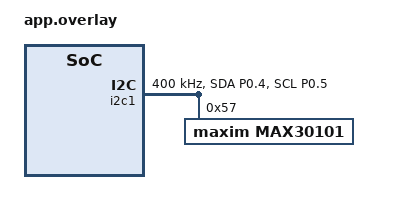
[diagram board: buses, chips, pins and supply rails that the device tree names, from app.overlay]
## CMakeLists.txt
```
cmake_minimum_required(VERSION 3.20.0)
find_package(Zephyr REQUIRED HINTS $ENV{ZEPHYR_BASE})
project(ppg_test)
target_sources(app PRIVATE src/main.c)
```

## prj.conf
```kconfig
# MAX30105 GREEN-LED PPG probe test.
CONFIG_I2C=y
CONFIG_SENSOR=y
CONFIG_MAX30101=y

# DIAGNOSTIC: light ALL THREE LEDs -- slot1 red(LED1), slot2 IR(LED2),
# slot3 green(LED3) -- to see which actually emit on this part.
CONFIG_MAX30101_MULTI_LED_MODE=y
CONFIG_MAX30101_SLOT1=1
CONFIG_MAX30101_SLOT2=2
CONFIG_MAX30101_SLOT3=3
CONFIG_MAX30101_SLOT4=0

# Red/IR at ~10 mA (already known good); GREEN at MAX current (0xff ~= 50 mA)
# so if a green LED exists at all, it cannot fail to show. [USER]/[UNIT]
CONFIG_MAX30101_LED1_PA=0x33
CONFIG_MAX30101_LED2_PA=0x33
CONFIG_MAX30101_LED3_PA=0xff

# 100 Hz sample rate -- plenty for HR, easy to watch the pulse. [UNIT]
CONFIG_MAX30101_SR=1

# USB-CDC console: log + the standing 'b'/'r' commands
CONFIG_LOG=y
CONFIG_CONSOLE=y
CONFIG_UART_CONSOLE=y
CONFIG_UART_LINE_CTRL=y
CONFIG_UART_INTERRUPT_DRIVEN=y
CONFIG_REBOOT=y

CONFIG_MAIN_STACK_SIZE=4096
```

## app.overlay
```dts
/* MAX30105 PPG on I2C1 (D4=SDA/P0.04, D5=SCL/P0.05), addr 0x57.
 * Same bus/address as the real firmware -- only this test lights the GREEN LED. */
&pinctrl {
	i2c1_default: i2c1_default {
		group1 {
			psels = <NRF_PSEL(TWIM_SDA, 0, 4)>,
				<NRF_PSEL(TWIM_SCL, 0, 5)>;
			bias-pull-up;
		};
	};
	i2c1_sleep: i2c1_sleep {
		group1 {
			psels = <NRF_PSEL(TWIM_SDA, 0, 4)>,
				<NRF_PSEL(TWIM_SCL, 0, 5)>;
			low-power-enable;
		};
	};
};

&i2c1 {
	compatible = "nordic,nrf-twim";
	status = "okay";
	pinctrl-0 = <&i2c1_default>;
	pinctrl-1 = <&i2c1_sleep>;
	pinctrl-names = "default", "sleep";
	clock-frequency = <I2C_BITRATE_FAST>;

	max30101: max30101@57 {
		compatible = "maxim,max30101";
		reg = <0x57>;
	};
};
```

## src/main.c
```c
/*
 * MAX30105 GREEN-LED PPG probe (XIAO nRF52840 Sense).
 *
 * Lights ONLY the green LED (slot 1 = LED3, see prj.conf) and streams its raw
 * 18-bit FIFO counts over serial. Cover the sensor's optical window (fingertip
 * or wrist) and the count should rise (DC) and show a pulsatile wobble at your
 * heart rate. Green (~530 nm) is the wavelength wrist wearables use -- this is
 * the quick "is green better here than red/IR?" check.
 *
 * Console: 'b' = UF2 bootloader, 'r' = reboot.
 */
#include <zephyr/kernel.h>
#include <zephyr/device.h>
#include <zephyr/drivers/sensor.h>
#include <zephyr/drivers/uart.h>
#include <zephyr/sys/reboot.h>
#include <zephyr/logging/log.h>
#include <hal/nrf_power.h>

LOG_MODULE_REGISTER(ppg, LOG_LEVEL_INF);

/* ---- standing 'b'/'r' console ---- */
static const struct device *console_uart =
	DEVICE_DT_GET(DT_CHOSEN(zephyr_console));
static volatile uint8_t pending_cmd;

static void uart_rx_cb(const struct device *dev, void *ud)
{
	ARG_UNUSED(ud);
	uint8_t c;

	if (!uart_irq_update(dev) || !uart_irq_rx_ready(dev)) {
		return;
	}
	while (uart_fifo_read(dev, &c, 1) == 1) {
		if (c == 'r' || c == 'R') {
			pending_cmd = 'r';
		} else if (c == 'b' || c == 'B') {
			pending_cmd = 'b';
		}
	}
}

static void service_console(void)
{
	uint8_t cmd = pending_cmd;

	if (cmd == 'r') {
		pending_cmd = 0;
		LOG_INF("rebooting...");
		k_sleep(K_MSEC(50));
		sys_reboot(SYS_REBOOT_COLD);
	} else if (cmd == 'b') {
		pending_cmd = 0;
		LOG_INF("entering UF2 bootloader...");
		k_sleep(K_MSEC(50));
		NRF_POWER->GPREGRET = 0x57;   /* Adafruit nRF52 "stay in UF2" magic */
		sys_reboot(SYS_REBOOT_COLD);
	}
}

int main(void)
{
	const struct device *max = DEVICE_DT_GET_ONE(maxim_max30101);

	if (!device_is_ready(console_uart)) {
		return 0;
	}
	uart_irq_callback_user_data_set(console_uart, uart_rx_cb, NULL);
	uart_irq_rx_enable(console_uart);

	if (!device_is_ready(max)) {
		LOG_ERR("MAX30105 not ready (wiring/I2C?)  'b'=bootloader 'r'=reboot");
		while (1) {
			service_console();
			k_msleep(50);
		}
	}

	LOG_INF("MAX30105 LED diagnostic -- all 3 LEDs on. Cover the sensor.");
	LOG_INF("A working LED -> counts in the THOUSANDS; ~30 = LED not emitting.");
	LOG_INF("'b'=UF2 bootloader  'r'=reboot");

	while (1) {
		service_console();

		struct sensor_value red, ir, green;

		if (sensor_sample_fetch(max) == 0 &&
		    sensor_channel_get(max, SENSOR_CHAN_RED, &red) == 0 &&
		    sensor_channel_get(max, SENSOR_CHAN_IR, &ir) == 0 &&
		    sensor_channel_get(max, SENSOR_CHAN_GREEN, &green) == 0) {
			LOG_INF("RED=%-7u IR=%-7u GREEN=%-7u",
				(unsigned)red.val1, (unsigned)ir.val1,
				(unsigned)green.val1);
		} else {
			LOG_WRN("read failed");
		}

		k_msleep(33);   /* ~30 prints/sec */
	}
}
```
